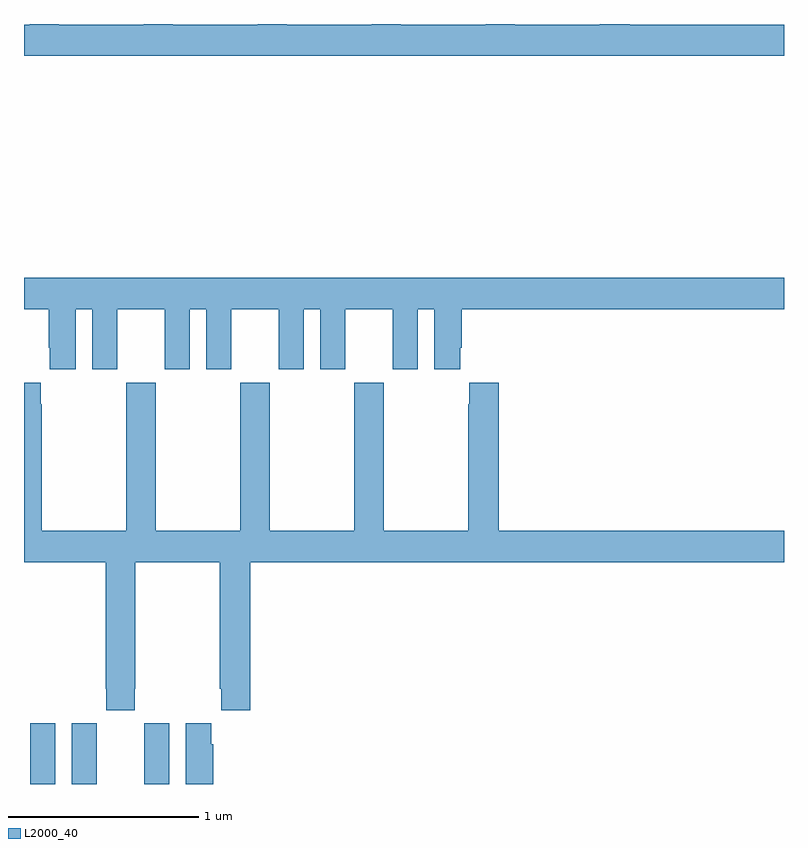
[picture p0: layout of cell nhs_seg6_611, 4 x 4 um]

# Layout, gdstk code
import gdstk
lib = gdstk.Library(unit=1e-6, precision=1e-09)
def P(c, l, *ps):  # polygons
    for p in ps: c.add(gdstk.Polygon(p, *l))
L2000_40 = (2000, 40)

nhs_seg6_611 = lib.new_cell('nhs_seg6_611')
P(nhs_seg6_611, L2000_40, [(153,951.496),(152.189,951.496),(152.189,951.5),(152.029,951.5),(152.029,951.496),(151.584,951.496),(151.584,951.5),(151.429,951.5),(151.429,951.496),(150.984,951.496),(150.984,951.5),(150.829,951.5),(150.829,951.496),(150.384,951.496),(150.384,951.5),(150.229,951.5),(150.229,951.496),(149.784,951.496),(149.784,951.5),(149.629,951.5),(149.629,951.496),(149.184,951.496),(149.184,951.5),(149.029,951.5),(149.029,951.496),(149,951.496),(149,951.332),(153,951.332)],
  [(149.272,950),(149.36,950),(149.36,949.683),(149.491,949.683),(149.491,950),(149.741,950),(149.741,949.683),(149.872,949.683),(149.872,950),(149.96,950),(149.96,949.683),(150.091,949.683),(150.091,950),(150.341,950),(150.341,949.683),(150.472,949.683),(150.472,950),(150.56,950),(150.56,949.683),(150.691,949.683),(150.691,950),(150.941,950),(150.941,949.683),(151.072,949.683),(151.072,950),(151.16,950),(151.16,949.683),(151.297,949.683),(151.297,949.795),(151.304,949.795),(151.304,950),(153,950),(153,950.164),(149,950.164),(149,950),(149.129,950),(149.129,949.795),(149.135,949.795),(149.135,949.683),(149.272,949.683)],
  [(153,948.832),(151.499,948.832),(151.499,949.612),(151.343,949.612),(151.343,949.499),(151.339,949.499),(151.339,948.832),(150.894,948.832),(150.894,949.612),(150.739,949.612),(150.739,948.832),(150.294,948.832),(150.294,949.612),(150.139,949.612),(150.139,948.832),(149.694,948.832),(149.694,949.612),(149.539,949.612),(149.539,948.832),(149.094,948.832),(149.094,949.499),(149.089,949.499),(149.089,949.612),(149,949.612),(149,948.668),(149.431,948.668),(149.431,948.001),(149.433,948.001),(149.433,947.889),(149.583,947.889),(149.583,948.001),(149.586,948.001),(149.586,948.668),(150.031,948.668),(150.031,948.001),(150.037,948.001),(150.037,947.889),(150.191,947.889),(150.191,948.668),(153,948.668)],
  [(149.996,947.708),(149.986,947.708),(149.986,947.821),(149.852,947.821),(149.852,947.5),(149.996,947.5)],
  [(149.764,947.821),(149.634,947.821),(149.634,947.708),(149.633,947.708),(149.633,947.5),(149.764,947.5)],
  [(149.383,947.708),(149.382,947.708),(149.382,947.821),(149.252,947.821),(149.252,947.5),(149.383,947.5)],
  [(149.034,947.821),(149.034,947.708),(149.033,947.708),(149.033,947.5),(149.164,947.5),(149.164,947.821)])

lib.write_gds('nhs_seg6_611.gds')
